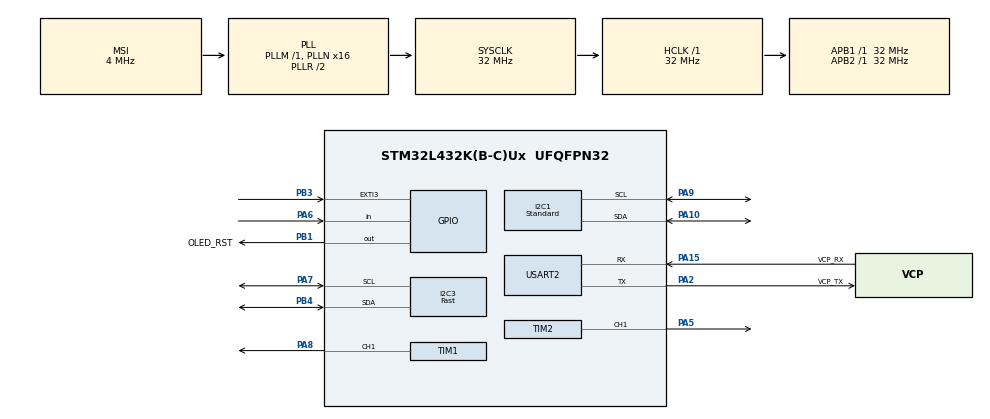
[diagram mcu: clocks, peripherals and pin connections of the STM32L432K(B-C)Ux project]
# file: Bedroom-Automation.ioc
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I2C1.I2C_Speed_Mode=I2C_Standard
I2C1.Timing=0x00B07CB4
I2C3.I2C_Speed_Mode=I2C_Fast
I2C3.Timing=0x0060112F
Mcu.Family=STM32L4
Mcu.Name=STM32L432K(B-C)Ux
Mcu.Package=UFQFPN32
NVIC.EXTI3_IRQn=true\:0\:0\:false\:false\:true\:true\:true\:true
NVIC.PriorityGroup=NVIC_PRIORITYGROUP_4
PA0.GPIO_Label=MCO [High speed clock in]
PA0.Mode=HSE-External-Clock-Source-for-LittleOrca
PA0.Signal=RCC_CK_IN
PA10.Mode=I2C
PA10.Signal=I2C1_SDA
PA13\ (JTMS-SWDIO).GPIO_Label=SWDIO
PA13\ (JTMS-SWDIO).Mode=Serial_Wire
PA13\ (JTMS-SWDIO).Signal=SYS_JTMS-SWDIO
PA14\ (JTCK-SWCLK).GPIO_Label=SWCLK
PA14\ (JTCK-SWCLK).Mode=Serial_Wire
PA14\ (JTCK-SWCLK).Signal=SYS_JTCK-SWCLK
PA15\ (JTDI).GPIO_Label=VCP_RX
PA15\ (JTDI).Mode=Asynchronous
PA15\ (JTDI).Signal=USART2_RX
PA2.GPIO_Label=VCP_TX
PA2.Mode=Asynchronous
PA2.Signal=USART2_TX
PA5.Signal=S_TIM2_CH1
PA6.Signal=GPIO_Input
PA7.Mode=I2C
PA7.Signal=I2C3_SCL
PA8.Signal=S_TIM1_CH1
PA9.Mode=I2C
PA9.Signal=I2C1_SCL
PB1.GPIO_Label=OLED_RST
PB1.Signal=GPIO_Output
PB3\ (JTDO-TRACESWO).Signal=GPXTI3
PB4\ (NJTRST).Mode=I2C
PB4\ (NJTRST).Signal=I2C3_SDA
PC14-OSC32_IN\ (PC14).Mode=LSE-External-Oscillator
PC14-OSC32_IN\ (PC14).Signal=RCC_OSC32_IN
PC15-OSC32_OUT\ (PC15).Mode=LSE-External-Oscillator
PC15-OSC32_OUT\ (PC15).Signal=RCC_OSC32_OUT
ProjectManager.HeapSize=0x200
ProjectManager.StackSize=0x400
ProjectManager.TargetToolchain=STM32CubeIDE
RCC.AHBFreq_Value=32000000
RCC.APB1Freq_Value=32000000
RCC.APB1TimFreq_Value=32000000
RCC.APB2Freq_Value=32000000
RCC.APB2TimFreq_Value=32000000
RCC.CortexFreq_Value=32000000
RCC.HCLKFreq_Value=32000000
RCC.HSE_VALUE=8000000
RCC.HSI16_VALUE=16000000
RCC.HSI48_VALUE=48000000
RCC.HSI_VALUE=16000000
RCC.MSI_VALUE=4000000
RCC.PLLMUL=RCC_PLLMUL_4
RCC.PLLN=16
RCC.SYSCLKFreq_VALUE=32000000
RCC.SYSCLKSource=RCC_SYSCLKSOURCE_PLLCLK
RCC.VCOOutputFreq_Value=64000000
SH.S_TIM1_CH1.0=TIM1_CH1,PWM Generation1 CH1
SH.S_TIM2_CH1.0=TIM2_CH1,PWM Generation1 CH1
TIM1.AutoReloadPreload=TIM_AUTORELOAD_PRELOAD_ENABLE
TIM1.Channel-PWM\ Generation1\ CH1=TIM_CHANNEL_1
TIM1.Period=1279
TIM1.Prescaler=0
TIM2.AutoReloadPreload=TIM_AUTORELOAD_PRELOAD_ENABLE
TIM2.Channel-PWM\ Generation1\ CH1=TIM_CHANNEL_1
TIM2.Period=1279
USART2.VirtualMode-Asynchronous=VM_ASYNC
VP_TIM1_VS_ClockSourceINT.Mode=Internal
VP_TIM2_VS_ClockSourceINT.Mode=Internal
board=NUCLEO-L432KC

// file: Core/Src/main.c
/* USER CODE BEGIN Header */
/**
  ******************************************************************************
  * @file           : main.c
  * @brief          : Main program body
  ******************************************************************************
  * @attention
  *
  * Copyright (c) 2025 STMicroelectronics.
  * All rights reserved.
  *
  * This software is licensed under terms that can be found in the LICENSE file
  * in the root directory of this software component.
  * If no LICENSE file comes with this software, it is provided AS-IS.
  *
  ******************************************************************************
  */
/* USER CODE END Header */
#include "main.h"

/* USER CODE BEGIN Includes */
#include "motionsensor.h"
#include "lightsensor.h"
#include "device.h"
#include <string.h>
#include <stdlib.h>
#include <stdio.h>
#include "ssd1306.h"
/* USER CODE END Includes */

/* USER CODE BEGIN PTD */
typedef enum{ IDLE, READY, CONTROL } state;
/* USER CODE END PTD */

/* USER CODE BEGIN PD */
#define INACTIVITY_TIMEOUT_MS 10000  // 10s
// SHT31 Address (Default 0x44, shifted left by 1 for HAL)
#define SHT31_ADDR (0x44 << 1)

/* USER CODE END PD */

I2C_HandleTypeDef hi2c1;
I2C_HandleTypeDef hi2c3;

TIM_HandleTypeDef htim1;
TIM_HandleTypeDef htim2;

UART_HandleTypeDef huart2;

/* USER CODE BEGIN PV */
volatile uint32_t lastMotionTime = 0;
uint32_t ledDC;
uint32_t fanDC;
char buffer[100];

/* USER CODE END PV */

void SystemClock_Config(void);
static void MX_GPIO_Init(void);
static void MX_USART2_UART_Init(void);
static void MX_TIM1_Init(void);
static void MX_TIM2_Init(void);
static void MX_I2C1_Init(void);
static void MX_I2C3_Init(void);

/* USER CODE BEGIN 0 */
state CURRENTSTATE = IDLE;
struct device LIGHT = {"BH1750", 0};
struct device MOTION = {"HC-SR501", 0};
struct device TEMP = {"SHT31", 0};

void HAL_GPIO_EXTI_Callback(uint16_t GPIO_Pin)
{
    if (GPIO_Pin == GPIO_PIN_3) {
        motionDetected = 1;
        lastMotionTime = HAL_GetTick();
    }
}

float mapFloat(float x, float in_min, float in_max, float out_min, float out_max) {
    if(x <= in_min) return out_min;
    if(x >= in_max) return out_max;
    return (x - in_min) * (out_max - out_min) / (in_max - in_min) + out_min;
}

uint32_t mapInverse(uint32_t x, uint32_t in_min, uint32_t in_max, uint32_t out_min, uint32_t out_max){
    if(x <= in_min) return out_min;
    if(x >= in_max) return out_max;
    return (in_max - x) * (out_max - out_min) / (in_max - in_min) + out_min;
}

typedef struct {
    float temperature;
    float humidity;
} SHT31_Data;

SHT31_Data SHT31_Read(I2C_HandleTypeDef *hi2c1) {
    SHT31_Data result = {0.0f, 0.0f};
    uint8_t cmd[2] = {0x2C, 0x06}; // Command: Measure High Repeatability, No Clock Stretch
    uint8_t data[6];

    // 1. Send Measurement Command
    if (HAL_I2C_Master_Transmit(hi2c1, SHT31_ADDR, cmd, 2, 100) != HAL_OK) {
        return result; // Error
    }

    // 2. Wait for measurement to complete (High repeatability takes ~15ms)
    HAL_Delay(20);

    // 3. Read 6 Bytes (Temp MSB, Temp LSB, CRC, Hum MSB, Hum LSB, CRC)
    if (HAL_I2C_Master_Receive(hi2c1, SHT31_ADDR, data, 6, 100) == HAL_OK) {
        // Convert Temperature
        uint16_t temp_raw = (data[0] << 8) | data[1];
        result.temperature = -45.0f + (175.0f * (float)temp_raw / 65535.0f);

        // Convert Humidity
        uint16_t hum_raw = (data[3] << 8) | data[4];
        result.humidity = 100.0f * ((float)hum_raw / 65535.0f);
    }
    HAL_Delay(10);

    return result;
}
/* USER CODE END 0 */

int main(void)
{

  /* MCU Configuration--------------------------------------------------------*/

  /* Reset of all peripherals, Initializes the Flash interface and the Systick. */
  HAL_Init();

  /* Configure the system clock */
  SystemClock_Config();

  /* Initialize all configured peripherals */
  MX_GPIO_Init();
  MX_USART2_UART_Init();
  MX_TIM1_Init();
  MX_TIM2_Init();
  MX_I2C1_Init();
  MX_I2C3_Init();

  /* USER CODE BEGIN 2 */
  HAL_TIM_PWM_Start(&htim1, TIM_CHANNEL_1);
  HAL_TIM_PWM_Start(&htim2, TIM_CHANNEL_1);
/*
  // 1. HARDWARE RESET (Must Keep)

      HAL_GPIO_WritePin(OLED_RST_GPIO_Port, OLED_RST_Pin, GPIO_PIN_RESET);
      HAL_Delay(100);
      HAL_GPIO_WritePin(OLED_RST_GPIO_Port, OLED_RST_Pin, GPIO_PIN_SET);
      HAL_Delay(100);

      // 2. INITIALIZE OLED (Must Keep)
      ssd1306_Init();
      ssd1306_Fill(Black);// Clear any startup garbage
      ssd1306_UpdateScreen();
      HAL_Delay(10);
*/

  /* USER CODE END 2 */

  /* Infinite loop */
  /* USER CODE BEGIN WHILE */
  char temp_str[32];
  char hum_str[32];
 // char motion_str[32];
  char state_str[32];
  char lux_str[32];

  while (1)
  {
    /* USER CODE END WHILE */

    /* USER CODE BEGIN 3 */
	  switch (CURRENTSTATE){
	  	  case(IDLE):
	  			  if(motionDetected){
	  				  //exit low power mode
	  				  motionDetected = 0;
	  				  HAL_UART_Transmit(&huart2, (uint8_t*)"Motion detected, waking up MCU...\r\n",36, HAL_MAX_DELAY);
	  			      CURRENTSTATE = READY;
	  				  break;
	  			  }
	  	  	  HAL_UART_Transmit(&huart2, (uint8_t*)"No Motion detected, MCU entering sleep mode...\r\n\n", 52, HAL_MAX_DELAY);
/*
	  	  	 snprintf(state_str, sizeof(state_str), "STATE: SLEEPING");
	  	  	ssd1306_Fill(Black);
	  	  	ssd1306_SetCursor(5, 10);
	  	  	ssd1306_WriteString(state_str, Font_7x10, White);
	  	  	ssd1306_UpdateScreen();
	  	  	HAL_Delay(50);
*/
	  	  	  HAL_SuspendTick();
	  	      HAL_PWR_EnterSLEEPMode(PWR_MAINREGULATOR_ON, PWR_SLEEPENTRY_WFI);
	  	  	  HAL_ResumeTick();

	  	  break;
	  	  case(READY):
	  			// get all sensor data (use read functions)
				// capture data into device object (.data)
				bh1750_getData();
	  			LIGHT.data = getLux();
	  	  	  	snprintf(buffer, sizeof(buffer), "Lux: %ld\r\n", (long)LIGHT.data);
	  			HAL_UART_Transmit(&huart2, (uint8_t*)buffer, strlen(buffer), HAL_MAX_DELAY);

	  	  	  	TEMP.data = 0;//temp function
	  	  	  	SHT31_Data Temp_Data  = SHT31_Read(&hi2c1);
	  	  	    HAL_Delay(1000);
	  	  	    float temp_f = (Temp_Data.temperature * 1.8f) + 32.0f;
	  	  	    snprintf(buffer, sizeof(buffer), "Temperature: %0.2f F\r\n", temp_f);
	  	  		HAL_UART_Transmit(&huart2, (uint8_t*)buffer, strlen(buffer), HAL_MAX_DELAY);
	  	  		snprintf(buffer, sizeof(buffer), "Relative humidity: %0.2f%%\r\n", Temp_Data.humidity);
	  	  		HAL_UART_Transmit(&huart2, (uint8_t*)buffer, strlen(buffer), HAL_MAX_DELAY);

	  	  		uint8_t fanPercentInt = (fanDC * 100) / 1279;
	  	  		uint8_t ledPercentInt = (ledDC * 100) / 1279;
	  	  		snprintf(buffer, sizeof(buffer), "Fan: %d%%, LED: %d%%\r\n\n", fanPercentInt, ledPercentInt);
	  	  		HAL_UART_Transmit(&huart2, (uint8_t*)buffer, strlen(buffer), HAL_MAX_DELAY);

/*	  	  	  	//print data to screen
	  	  	// 1. Read Sensor (Returns Celsius)

	  	   // 2. Perform Conversion (C -> F)

	  	   // 3. Format Strings with Units
	  	   // current state
	  	   snprintf(state_str, sizeof(buffer), "STATE: ACTIVE");
	  	   //lux reading
	  	  snprintf(lux_str, sizeof(buffer), "Lux: %ld", (long)LIGHT.data);

	  	 // "Temp: 72.5 F"
	  	 // snprintf(temp_str, sizeof(temp_str), "Temp: %.1f F", temp_f);

	  	 // "Hum:  45.2 %"
	  	 // snprintf(hum_str, sizeof(hum_str), "Hum:  %.1f %%", Temp_Data.humidity);

	  	 // 4. Draw Frame
	  	 ssd1306_Fill(Black);

	  	 ssd1306_SetCursor(5, 10);
	  	 ssd1306_WriteString(state_str, Font_7x10, White);

	  	 ssd1306_SetCursor(5, 20);
	  	ssd1306_WriteString(lux_str, Font_7x10, White);

	  	ssd1306_SetCursor(5, 30);
	  	ssd1306_WriteString(temp_str, Font_7x10, White);

	    ssd1306_SetCursor(5, 40);
	   ssd1306_WriteString(hum_str, Font_7x10, White);

	  	// 5. Push to Screen
	  	ssd1306_UpdateScreen();
	  	*/
	  			CURRENTSTATE = CONTROL;
	  	  break;
	  	  case(CONTROL):
	  		  // Poll Motion Sensor
				if (readMotion() == 1) {
					lastMotionTime = HAL_GetTick();   // Refresh timeout
				}
		  	  // change fan speed (0 - 1280) (pin D9)
	  	  	  fanDC = (uint32_t)mapFloat(temp_f, 68.0f, 78.0f, 0.0f, 1279.0f);
	  	  	  if(fanDC > 1279) fanDC = 1279; // clamp
	  	  	  __HAL_TIM_SET_COMPARE(&htim2, TIM_CHANNEL_1, fanDC);
		  	  // change light intensity (0 - 1280)(pin A4)
	  	  	  if (LIGHT.data >= 800) {
	  	  		  ledDC = 0; // Turn LED off
	  	  	  } else {
	  	  	    ledDC = mapInverse(LIGHT.data, 0, 800, 0, 1279);
	  	  	  }
	  	  	  	__HAL_TIM_SET_COMPARE(&htim1, TIM_CHANNEL_1, ledDC);

			  //wait X-seconds
				HAL_Delay(1000);  // 1 seconds
				if((HAL_GetTick() - lastMotionTime) > INACTIVITY_TIMEOUT_MS){
					CURRENTSTATE = IDLE;
				}else{
					CURRENTSTATE = READY;
				}
	  	  break;

	  }
  }
  /* USER CODE END 3 */
}

void SystemClock_Config(void)
{
  RCC_OscInitTypeDef RCC_OscInitStruct = {0};
  RCC_ClkInitTypeDef RCC_ClkInitStruct = {0};

  /** Configure the main internal regulator output voltage
  */
  if (HAL_PWREx_ControlVoltageScaling(PWR_REGULATOR_VOLTAGE_SCALE1) != HAL_OK)
  {
    Error_Handler();
  }

  /** Configure LSE Drive Capability
  */
  HAL_PWR_EnableBkUpAccess();
  __HAL_RCC_LSEDRIVE_CONFIG(RCC_LSEDRIVE_LOW);

  /** Initializes the RCC Oscillators according to the specified parameters
  * in the RCC_OscInitTypeDef structure.
  */
  RCC_OscInitStruct.OscillatorType = RCC_OSCILLATORTYPE_LSE|RCC_OSCILLATORTYPE_MSI;
  RCC_OscInitStruct.LSEState = RCC_LSE_ON;
  RCC_OscInitStruct.MSIState = RCC_MSI_ON;
  RCC_OscInitStruct.MSICalibrationValue = 0;
  RCC_OscInitStruct.MSIClockRange = RCC_MSIRANGE_6;
  RCC_OscInitStruct.PLL.PLLState = RCC_PLL_ON;
  RCC_OscInitStruct.PLL.PLLSource = RCC_PLLSOURCE_MSI;
  RCC_OscInitStruct.PLL.PLLM = 1;
  RCC_OscInitStruct.PLL.PLLN = 16;
  RCC_OscInitStruct.PLL.PLLP = RCC_PLLP_DIV7;
  RCC_OscInitStruct.PLL.PLLQ = RCC_PLLQ_DIV2;
  RCC_OscInitStruct.PLL.PLLR = RCC_PLLR_DIV2;
  if (HAL_RCC_OscConfig(&RCC_OscInitStruct) != HAL_OK)
  {
    Error_Handler();
  }

  /** Initializes the CPU, AHB and APB buses clocks
  */
  RCC_ClkInitStruct.ClockType = RCC_CLOCKTYPE_HCLK|RCC_CLOCKTYPE_SYSCLK
                              |RCC_CLOCKTYPE_PCLK1|RCC_CLOCKTYPE_PCLK2;
  RCC_ClkInitStruct.SYSCLKSource = RCC_SYSCLKSOURCE_PLLCLK;
  RCC_ClkInitStruct.AHBCLKDivider = RCC_SYSCLK_DIV1;
  RCC_ClkInitStruct.APB1CLKDivider = RCC_HCLK_DIV1;
  RCC_ClkInitStruct.APB2CLKDivider = RCC_HCLK_DIV1;

  if (HAL_RCC_ClockConfig(&RCC_ClkInitStruct, FLASH_LATENCY_1) != HAL_OK)
  {
    Error_Handler();
  }

  /** Enable MSI Auto calibration
  */
  HAL_RCCEx_EnableMSIPLLMode();
}

static void MX_I2C1_Init(void)
{

  hi2c1.Instance = I2C1;
  hi2c1.Init.Timing = 0x00B07CB4;
  hi2c1.Init.OwnAddress1 = 0;
  hi2c1.Init.AddressingMode = I2C_ADDRESSINGMODE_7BIT;
  hi2c1.Init.DualAddressMode = I2C_DUALADDRESS_DISABLE;
  hi2c1.Init.OwnAddress2 = 0;
  hi2c1.Init.OwnAddress2Masks = I2C_OA2_NOMASK;
  hi2c1.Init.GeneralCallMode = I2C_GENERALCALL_DISABLE;
  hi2c1.Init.NoStretchMode = I2C_NOSTRETCH_DISABLE;
  if (HAL_I2C_Init(&hi2c1) != HAL_OK)
  {
    Error_Handler();
  }

  /** Configure Analogue filter
  */
  if (HAL_I2CEx_ConfigAnalogFilter(&hi2c1, I2C_ANALOGFILTER_ENABLE) != HAL_OK)
  {
    Error_Handler();
  }

  /** Configure Digital filter
  */
  if (HAL_I2CEx_ConfigDigitalFilter(&hi2c1, 0) != HAL_OK)
  {
    Error_Handler();
  }

}

static void MX_I2C3_Init(void)
{

  hi2c3.Instance = I2C3;
  hi2c3.Init.Timing = 0x0060112F;
  hi2c3.Init.OwnAddress1 = 0;
  hi2c3.Init.AddressingMode = I2C_ADDRESSINGMODE_7BIT;
  hi2c3.Init.DualAddressMode = I2C_DUALADDRESS_DISABLE;
  hi2c3.Init.OwnAddress2 = 0;
  hi2c3.Init.OwnAddress2Masks = I2C_OA2_NOMASK;
  hi2c3.Init.GeneralCallMode = I2C_GENERALCALL_DISABLE;
  hi2c3.Init.NoStretchMode = I2C_NOSTRETCH_DISABLE;
  if (HAL_I2C_Init(&hi2c3) != HAL_OK)
  {
    Error_Handler();
  }

  /** Configure Analogue filter
  */
  if (HAL_I2CEx_ConfigAnalogFilter(&hi2c3, I2C_ANALOGFILTER_ENABLE) != HAL_OK)
  {
    Error_Handler();
  }

  /** Configure Digital filter
  */
  if (HAL_I2CEx_ConfigDigitalFilter(&hi2c3, 0) != HAL_OK)
  {
    Error_Handler();
  }

}

static void MX_TIM1_Init(void)
{

  TIM_ClockConfigTypeDef sClockSourceConfig = {0};
  TIM_MasterConfigTypeDef sMasterConfig = {0};
  TIM_OC_InitTypeDef sConfigOC = {0};
  TIM_BreakDeadTimeConfigTypeDef sBreakDeadTimeConfig = {0};

  htim1.Instance = TIM1;
  htim1.Init.Prescaler = 0;
  htim1.Init.CounterMode = TIM_COUNTERMODE_UP;
  htim1.Init.Period = 1279;
  htim1.Init.ClockDivision = TIM_CLOCKDIVISION_DIV1;
  htim1.Init.RepetitionCounter = 0;
  htim1.Init.AutoReloadPreload = TIM_AUTORELOAD_PRELOAD_ENABLE;
  if (HAL_TIM_Base_Init(&htim1) != HAL_OK)
  {
    Error_Handler();
  }
  sClockSourceConfig.ClockSource = TIM_CLOCKSOURCE_INTERNAL;
  if (HAL_TIM_ConfigClockSource(&htim1, &sClockSourceConfig) != HAL_OK)
  {
    Error_Handler();
  }
  if (HAL_TIM_PWM_Init(&htim1) != HAL_OK)
  {
    Error_Handler();
  }
  sMasterConfig.MasterOutputTrigger = TIM_TRGO_RESET;
  sMasterConfig.MasterOutputTrigger2 = TIM_TRGO2_RESET;
  sMasterConfig.MasterSlaveMode = TIM_MASTERSLAVEMODE_DISABLE;
  if (HAL_TIMEx_MasterConfigSynchronization(&htim1, &sMasterConfig) != HAL_OK)
  {
    Error_Handler();
  }
  sConfigOC.OCMode = TIM_OCMODE_PWM1;
  sConfigOC.Pulse = 0;
  sConfigOC.OCPolarity = TIM_OCPOLARITY_HIGH;
  sConfigOC.OCNPolarity = TIM_OCNPOLARITY_HIGH;
  sConfigOC.OCFastMode = TIM_OCFAST_DISABLE;
  sConfigOC.OCIdleState = TIM_OCIDLESTATE_RESET;
  sConfigOC.OCNIdleState = TIM_OCNIDLESTATE_RESET;
  if (HAL_TIM_PWM_ConfigChannel(&htim1, &sConfigOC, TIM_CHANNEL_1) != HAL_OK)
  {
    Error_Handler();
  }
  sBreakDeadTimeConfig.OffStateRunMode = TIM_OSSR_DISABLE;
  sBreakDeadTimeConfig.OffStateIDLEMode = TIM_OSSI_DISABLE;
  sBreakDeadTimeConfig.LockLevel = TIM_LOCKLEVEL_OFF;
  sBreakDeadTimeConfig.DeadTime = 0;
  sBreakDeadTimeConfig.BreakState = TIM_BREAK_DISABLE;
  sBreakDeadTimeConfig.BreakPolarity = TIM_BREAKPOLARITY_HIGH;
  sBreakDeadTimeConfig.BreakFilter = 0;
  sBreakDeadTimeConfig.Break2State = TIM_BREAK2_DISABLE;
  sBreakDeadTimeConfig.Break2Polarity = TIM_BREAK2POLARITY_HIGH;
  sBreakDeadTimeConfig.Break2Filter = 0;
  sBreakDeadTimeConfig.AutomaticOutput = TIM_AUTOMATICOUTPUT_DISABLE;
  if (HAL_TIMEx_ConfigBreakDeadTime(&htim1, &sBreakDeadTimeConfig) != HAL_OK)
  {
    Error_Handler();
  }
  HAL_TIM_MspPostInit(&htim1);

}

static void MX_TIM2_Init(void)
{

  TIM_ClockConfigTypeDef sClockSourceConfig = {0};
  TIM_MasterConfigTypeDef sMasterConfig = {0};
  TIM_OC_InitTypeDef sConfigOC = {0};

  htim2.Instance = TIM2;
  htim2.Init.Prescaler = 0;
  htim2.Init.CounterMode = TIM_COUNTERMODE_UP;
  htim2.Init.Period = 1279;
  htim2.Init.ClockDivision = TIM_CLOCKDIVISION_DIV1;
  htim2.Init.AutoReloadPreload = TIM_AUTORELOAD_PRELOAD_ENABLE;
  if (HAL_TIM_Base_Init(&htim2) != HAL_OK)
  {
    Error_Handler();
  }
  sClockSourceConfig.ClockSource = TIM_CLOCKSOURCE_INTERNAL;
  if (HAL_TIM_ConfigClockSource(&htim2, &sClockSourceConfig) != HAL_OK)
  {
    Error_Handler();
  }
  if (HAL_TIM_PWM_Init(&htim2) != HAL_OK)
  {
    Error_Handler();
  }
  sMasterConfig.MasterOutputTrigger = TIM_TRGO_RESET;
  sMasterConfig.MasterSlaveMode = TIM_MASTERSLAVEMODE_DISABLE;
  if (HAL_TIMEx_MasterConfigSynchronization(&htim2, &sMasterConfig) != HAL_OK)
  {
    Error_Handler();
  }
  sConfigOC.OCMode = TIM_OCMODE_PWM1;
  sConfigOC.Pulse = 0;
  sConfigOC.OCPolarity = TIM_OCPOLARITY_HIGH;
  sConfigOC.OCFastMode = TIM_OCFAST_DISABLE;
  if (HAL_TIM_PWM_ConfigChannel(&htim2, &sConfigOC, TIM_CHANNEL_1) != HAL_OK)
  {
    Error_Handler();
  }
  HAL_TIM_MspPostInit(&htim2);

}

static void MX_USART2_UART_Init(void)
{

  huart2.Instance = USART2;
  huart2.Init.BaudRate = 115200;
  huart2.Init.WordLength = UART_WORDLENGTH_8B;
  huart2.Init.StopBits = UART_STOPBITS_1;
  huart2.Init.Parity = UART_PARITY_NONE;
  huart2.Init.Mode = UART_MODE_TX_RX;
  huart2.Init.HwFlowCtl = UART_HWCONTROL_NONE;
  huart2.Init.OverSampling = UART_OVERSAMPLING_16;
  huart2.Init.OneBitSampling = UART_ONE_BIT_SAMPLE_DISABLE;
  huart2.AdvancedInit.AdvFeatureInit = UART_ADVFEATURE_NO_INIT;
  if (HAL_UART_Init(&huart2) != HAL_OK)
  {
    Error_Handler();
  }

}

static void MX_GPIO_Init(void)
{
  GPIO_InitTypeDef GPIO_InitStruct = {0};

  /* GPIO Ports Clock Enable */
  __HAL_RCC_GPIOC_CLK_ENABLE();
  __HAL_RCC_GPIOA_CLK_ENABLE();
  __HAL_RCC_GPIOB_CLK_ENABLE();

  /*Configure GPIO pin Output Level */
  HAL_GPIO_WritePin(OLED_RST_GPIO_Port, OLED_RST_Pin, GPIO_PIN_RESET);

  /*Configure GPIO pin : PA6 */
  GPIO_InitStruct.Pin = GPIO_PIN_6;
  GPIO_InitStruct.Mode = GPIO_MODE_INPUT;
  GPIO_InitStruct.Pull = GPIO_NOPULL;
  HAL_GPIO_Init(GPIOA, &GPIO_InitStruct);

  /*Configure GPIO pin : OLED_RST_Pin */
  GPIO_InitStruct.Pin = OLED_RST_Pin;
  GPIO_InitStruct.Mode = GPIO_MODE_OUTPUT_PP;
  GPIO_InitStruct.Pull = GPIO_NOPULL;
  GPIO_InitStruct.Speed = GPIO_SPEED_FREQ_LOW;
  HAL_GPIO_Init(OLED_RST_GPIO_Port, &GPIO_InitStruct);

  /*Configure GPIO pin : PB3 */
  GPIO_InitStruct.Pin = GPIO_PIN_3;
  GPIO_InitStruct.Mode = GPIO_MODE_IT_RISING;
  GPIO_InitStruct.Pull = GPIO_NOPULL;
  HAL_GPIO_Init(GPIOB, &GPIO_InitStruct);

  /* EXTI interrupt init*/
  HAL_NVIC_SetPriority(EXTI3_IRQn, 0, 0);
  HAL_NVIC_EnableIRQ(EXTI3_IRQn);

}

void Error_Handler(void)
{
  __disable_irq();
  while (1)
  {
  }
}
